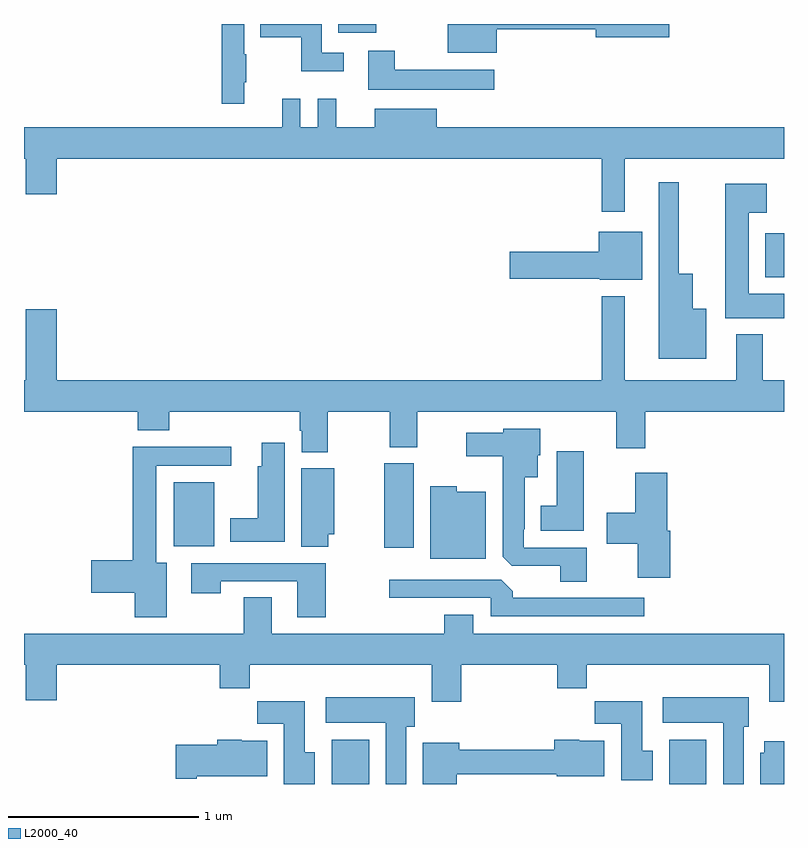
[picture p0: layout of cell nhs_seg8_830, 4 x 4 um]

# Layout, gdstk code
import gdstk
lib = gdstk.Library(unit=1e-6, precision=1e-09)
def R(c, l, rs):  # rectangles x0, y0, x1, y1
    for r in rs: c.add(gdstk.rectangle(r[:2], r[2:], *l))
def P(c, l, *ps):  # polygons
    for p in ps: c.add(gdstk.Polygon(p, *l))
L2000_40 = (2000, 40)

nhs_seg8_830 = lib.new_cell('nhs_seg8_830')
R(nhs_seg8_830, L2000_40, [(166.619,1087.9,166.816,1088.134), (168.395,1087.9,168.592,1088.134), (166.895,1089.144,167.05,1089.588), (165.788,1089.152,166,1089.487), (168.902,1090.568,169,1090.798), (166.655,1091.855,166.855,1091.9)])
P(nhs_seg8_830, L2000_40, [(167.488,1091.872),(168.008,1091.872),(168.008,1091.83),(168.397,1091.83),(168.397,1091.9),(167.231,1091.9),(167.231,1091.75),(167.488,1091.75)],
  [(166.16,1091.593),(166.171,1091.593),(166.171,1091.741),(166.158,1091.741),(166.158,1091.9),(166.042,1091.9),(166.042,1091.481),(166.16,1091.481)],
  [(166.684,1091.748),(166.566,1091.748),(166.566,1091.9),(166.243,1091.9),(166.243,1091.83),(166.458,1091.83),(166.458,1091.651),(166.684,1091.651)],
  [(167.476,1091.659),(166.951,1091.659),(166.951,1091.758),(166.811,1091.758),(166.811,1091.555),(167.476,1091.555)],
  [(168.163,1091.192),(169,1091.192),(169,1091.356),(167.173,1091.356),(167.173,1091.455),(166.847,1091.455),(166.847,1091.356),(166.643,1091.356),(166.643,1091.506),(166.545,1091.506),(166.545,1091.356),(166.455,1091.356),(166.455,1091.506),(166.358,1091.506),(166.358,1091.356),(165,1091.356),(165,1091.192),(165.008,1091.192),(165.008,1091.004),(165.172,1091.004),(165.172,1091.192),(168.042,1091.192),(168.042,1090.911),(168.163,1090.911)],
  [(168.592,1090.402),(168.52,1090.402),(168.52,1090.585),(168.445,1090.585),(168.445,1091.068),(168.341,1091.068),(168.341,1090.139),(168.592,1090.139)],
  [(169,1090.48),(168.814,1090.48),(168.814,1090.907),(168.91,1090.907),(168.91,1091.059),(168.692,1091.059),(168.692,1090.352),(169,1090.352)],
  [(168.253,1090.807),(168.026,1090.807),(168.026,1090.701),(167.556,1090.701),(167.556,1090.559),(168.03,1090.559),(168.03,1090.553),(168.253,1090.553)],
  [(166.599,1089.86),(166.924,1089.86),(166.924,1089.673),(167.071,1089.673),(167.071,1089.86),(168.116,1089.86),(168.116,1089.666),(168.269,1089.666),(168.269,1089.86),(169,1089.86),(169,1090.024),(168.889,1090.024),(168.889,1090.267),(168.749,1090.267),(168.749,1090.024),(168.163,1090.024),(168.163,1090.468),(168.042,1090.468),(168.042,1090.024),(165.172,1090.024),(165.172,1090.399),(165.008,1090.399),(165.008,1090.024),(165,1090.024),(165,1089.86),(165.599,1089.86),(165.599,1089.761),(165.764,1089.761),(165.764,1089.86),(166.451,1089.86),(166.451,1089.759),(166.463,1089.759),(166.463,1089.647),(166.599,1089.647)],
  [(167.962,1089.144),(167.631,1089.144),(167.631,1089.241),(167.635,1089.241),(167.635,1089.515),(167.704,1089.515),(167.704,1089.63),(167.716,1089.63),(167.716,1089.769),(167.523,1089.769),(167.523,1089.748),(167.328,1089.748),(167.328,1089.626),(167.519,1089.626),(167.519,1089.097),(167.568,1089.048),(167.822,1089.048),(167.822,1088.965),(167.962,1088.965)],
  [(166.372,1089.697),(166.25,1089.697),(166.25,1089.573),(166.229,1089.573),(166.229,1089.298),(166.085,1089.298),(166.085,1089.176),(166.372,1089.176)],
  [(165.751,1089.064),(165.697,1089.064),(165.697,1089.576),(166.09,1089.576),(166.09,1089.674),(165.572,1089.674),(165.572,1089.077),(165.354,1089.077),(165.354,1088.906),(165.584,1088.906),(165.584,1088.778),(165.751,1088.778)],
  [(167.947,1089.652),(167.804,1089.652),(167.804,1089.364),(167.72,1089.364),(167.72,1089.233),(167.947,1089.233)],
  [(166.602,1089.215),(166.633,1089.215),(166.633,1089.562),(166.46,1089.562),(166.46,1089.148),(166.602,1089.148)],
  [(168.401,1089.233),(168.386,1089.233),(168.386,1089.538),(168.218,1089.538),(168.218,1089.327),(168.066,1089.327),(168.066,1089.164),(168.23,1089.164),(168.23,1088.985),(168.401,1088.985)],
  [(167.431,1089.439),(167.277,1089.439),(167.277,1089.466),(167.138,1089.466),(167.138,1089.086),(167.431,1089.086)],
  [(166.587,1089.063),(165.879,1089.063),(165.879,1088.904),(166.035,1088.904),(166.035,1088.967),(166.439,1088.967),(166.439,1088.778),(166.587,1088.778)],
  [(168.265,1088.88),(167.573,1088.88),(167.573,1088.914),(167.511,1088.976),(166.923,1088.976),(166.923,1088.88),(167.457,1088.88),(167.457,1088.784),(168.265,1088.784)],
  [(167.3,1088.528),(167.807,1088.528),(167.807,1088.404),(167.963,1088.404),(167.963,1088.528),(168.923,1088.528),(168.923,1088.334),(169,1088.334),(169,1088.692),(167.365,1088.692),(167.365,1088.791),(167.213,1088.791),(167.213,1088.692),(166.303,1088.692),(166.303,1088.882),(166.156,1088.882),(166.156,1088.692),(165,1088.692),(165,1088.528),(165.008,1088.528),(165.008,1088.34),(165.172,1088.34),(165.172,1088.528),(166.031,1088.528),(166.031,1088.404),(166.187,1088.404),(166.187,1088.528),(167.147,1088.528),(167.147,1088.334),(167.3,1088.334)],
  [(167.011,1088.202),(167.056,1088.202),(167.056,1088.356),(166.587,1088.356),(166.587,1088.222),(166.904,1088.222),(166.904,1087.9),(167.011,1087.9)],
  [(168.787,1088.202),(168.814,1088.202),(168.814,1088.356),(168.363,1088.356),(168.363,1088.222),(168.68,1088.222),(168.68,1087.9),(168.787,1087.9)],
  [(166.531,1088.068),(166.477,1088.068),(166.477,1088.335),(166.228,1088.335),(166.228,1088.216),(166.367,1088.216),(166.367,1087.9),(166.531,1087.9)],
  [(168.31,1088.076),(168.253,1088.076),(168.253,1088.335),(168.004,1088.335),(168.004,1088.216),(168.143,1088.216),(168.143,1087.92),(168.31,1087.92)],
  [(165.91,1087.94),(166.279,1087.94),(166.279,1088.128),(166.146,1088.128),(166.146,1088.134),(166.016,1088.134),(166.016,1088.106),(165.798,1088.106),(165.798,1087.928),(165.91,1087.928)],
  [(167.278,1087.951),(167.804,1087.951),(167.804,1087.94),(168.055,1087.94),(168.055,1088.128),(167.922,1088.128),(167.922,1088.134),(167.792,1088.134),(167.792,1088.08),(167.291,1088.08),(167.291,1088.116),(167.099,1088.116),(167.099,1087.9),(167.278,1087.9)],
  [(169,1088.125),(168.896,1088.125),(168.896,1088.064),(168.875,1088.064),(168.875,1087.9),(169,1087.9)])

lib.write_gds('nhs_seg8_830.gds')
